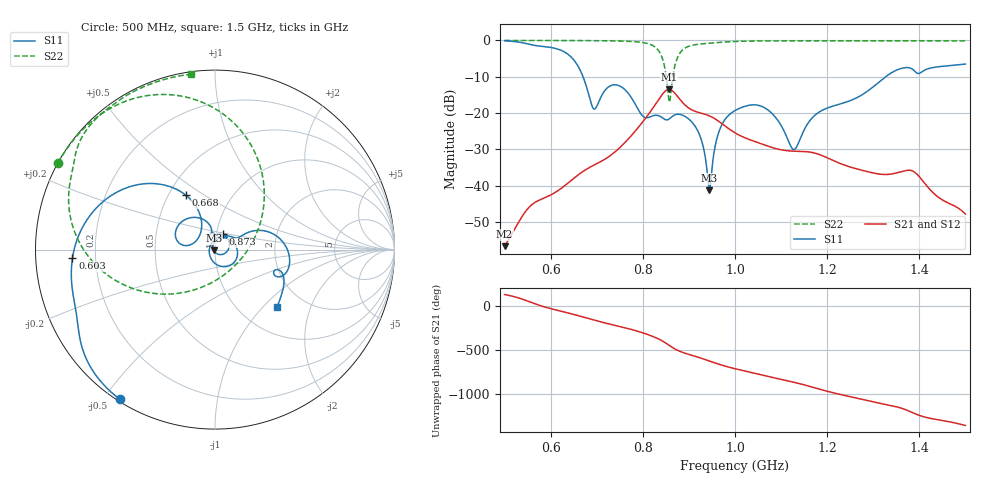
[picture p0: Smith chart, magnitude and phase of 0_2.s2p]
! TOUCHSTONE file generated by CST MICROWAVE STUDIO
! Date and time: Sat Oct 24 11:10:29 2020
! Project name: Scenario_1_Circular_Tissue_in_Line.cst
! Parameters = {L_HA=400; MT=2.54; Rad_Dielectric=30; Rad_Lower=7.3; Rad_Upper=30; a_HA=580; a_WG=246; b_HA=500; b_WG=121; c_HA=0; c_WG=187; d_feed=85; dx1=190.32; h_feed=15; h_lower=18; h_upper=40}
! Header version: 2018
! Port assignment regex: !\s*Touchstone port\s*([0-9]+)\s*=\s*(CST MWS port|CST DS port)\s*([0-9]+|Zmin|Zmax)\s*\(\"(.*)\"\)(\s*mode\s*([0-9]+))?.*
! Touchstone port assignment:
! Touchstone port 1 = CST MWS port 1 ("")
! Touchstone port 2 = CST MWS port 2 ("")
# GHz S DB R 50
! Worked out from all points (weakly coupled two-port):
!   1003 points, 500 MHz to 1.5 GHz, reference 50 ohm
!   highest |S21| = -13.48 dB at 857 MHz (marker M1); lowest = -56.7 dB at 500 MHz (marker M2)
!   lowest |S11| = -41.3 dB at 944 MHz (marker M3), VSWR 1.02, Z = 49.3 - j0.485 ohm
!   |S11| at or under -10 dB: 670.2 MHz to 1.327 GHz (656.7 MHz wide, 65.8 % of centre)
!   |S22| runs from -17.0 to 0.0 dB; largest |S21 - S12| = 7.7e-05
!   S11 on the Smith chart (normalised r, x): 500 MHz: 0.01, -0.55; 603 MHz: 0.11, -0.03; 668 MHz: 0.61, +0.42; 873 MHz: 1.07, +0.19; 1.5 GHz: 1.46, -1.21
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0.5  -0.11 -122.6  -56.67 123.5  -56.67 123.5  -0.01 151.1
0.603  -1.99 -176.7  -42.37 -38.3  -42.37 -38.3  -0.02 143.9
0.642  -4.28 146.4  -38.84 -88.7  -38.84 -88.7  -0.03 140.7
0.667  -9.00 119.0  -36.35 -125.0  -36.35 -125.0  -0.04 138.4
0.668  -9.30 118.1  -36.27 -126.5  -36.27 -126.5  -0.04 138.3
0.694  -18.90 143.7  -34.34 -164.7  -34.34 -164.7  -0.06 135.5
0.742  -12.24 144.3  -30.44 135.0  -30.44 135.0  -0.14 129.0
0.799  -20.73 102.9  -22.56 54.2  -22.56 54.2  -0.57 113.5
0.834  -20.72 96.4  -16.34 -15.9  -16.34 -15.9  -2.79 82.9
0.857  -21.65 84.2  -13.48 -87.7  -13.48 -87.7  -16.79 -32.8
0.873  -20.36 63.8  -15.08 -137.9  -15.08 -137.9  -5.44 -157.8
0.89  -20.82 32.8  -17.60 -173.7  -17.60 -173.7  -2.24 174.9
0.919  -24.86 -22.7  -19.77 140.1  -19.77 140.1  -1.07 156.6
0.944  -41.31 -145.1  -20.76 96.8  -20.76 96.8  -0.77 149.8
0.966  -24.84 79.5  -22.40 58.1  -22.40 58.1  -0.54 145.9
1  -19.32 23.8  -25.45 9.6  -25.45 9.6  -0.28 140.6
1.068  -18.84 -55.5  -28.97 -73.7  -28.97 -73.7  -0.13 132.6
1.127  -30.06 174.5  -30.50 -141.9  -30.50 -141.9  -0.11 127.3
1.167  -21.41 63.3  -30.86 163.6  -30.86 163.6  -0.11 124.2
1.334  -9.36 14.3  -36.88 -40.3  -36.88 -40.3  -0.09 111.4
1.386  -8.00 -22.1  -35.99 -126.6  -35.99 -126.6  -0.09 107.4
1.5  -6.52 -43.1  -47.83 91.3  -47.81 90.3  -0.12 97.8
